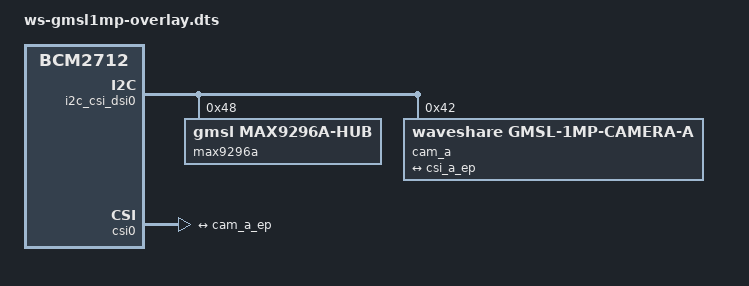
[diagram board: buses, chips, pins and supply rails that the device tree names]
// SPDX-License-Identifier: GPL-2.0
/*
 * Raspberry Pi 5: Waveshare MAX9296A GMSL HAT + up to two
 * GMSL-1MP-Camera-A, one camera per Pi CSI connector.
 *
 * The MAX9296A is driven by gmsl_max9296a (repo gmsl-max9296a); the cameras
 * are its clients (gmsl1mp). For other camera types on the same HAT use the
 * ws-max9296a-hat overlay from gmsl-max9296a instead of this one.
 *
 * Defaults (no parameters) = one camera:
 *   camera on HAT GMSL0 (link A) -> MAX9296A port B (HAT "CSI1")
 *     -> Pi CAM/DISP0 (J3), deserializer I2C on the CAM0 bus.
 *
 * Add the second camera with "link-b":
 *   camera on HAT GMSL1 (link B) -> MAX9296A port A (HAT "CSI0")
 *     -> Pi CAM/DISP1 (J4).
 *
 * Parameters:
 *   link-b          add the link-B camera
 *   no-link-a       drop the link-A camera (link-B only setups)
 *   a-port / b-port MAX9296A MIPI port per camera: 0 = A (HAT CSI0),
 *                   1 = B (HAT CSI1). Defaults a-port=1, b-port=0.
 *   a-cam1          link-A camera to Pi CAM1 (J4) instead of CAM0
 *   b-cam0          link-B camera to Pi CAM0 (J3) instead of CAM1
 *   i2c-cam1        deserializer I2C reached via the CAM1 connector's bus
 *   dser-addr       MAX9296A 7-bit address (default 0x48)
 *   a-vc / b-vc     CSI-2 virtual channel (default 0)
 *   link-frequency  CSI-2 link frequency in Hz for both ports (default
 *                   300000000 = 600 Mbps/lane, the rate Waveshare programs)
 *
 * Example (dual camera, the default routing):
 *   dtoverlay=ws-gmsl1mp,link-b
 */
/dts-v1/;
/plugin/;

/ {
	compatible = "brcm,bcm2712";

	/* the deserializer: both links GMSL1 (1MP), both MIPI ports 4 lanes */
	des_frag: fragment@0 {
		target = <&i2c_csi_dsi0>;
		__overlay__ {
			#address-cells = <1>;
			#size-cells = <0>;
			status = "okay";

			max9296a: max9296a@48 {
				compatible = "gmsl,max9296a-hub";
				reg = <0x48>;
				status = "okay";
				gmsl,poc-mfp = <4>;	/* HAT 12 V PoC on deserializer MFP4 */

				mipi-ports {
					#address-cells = <1>;
					#size-cells = <0>;

					mipi_port_a: mipi-port@0 {
						reg = <0>;
						data-lanes = <1 2 3 4>;
						link-frequency = /bits/ 64 <300000000>;
					};
					mipi_port_b: mipi-port@1 {
						reg = <1>;
						data-lanes = <1 2 3 4>;
						link-frequency = /bits/ 64 <300000000>;
					};
				};

				links {
					#address-cells = <1>;
					#size-cells = <0>;

					link_a: link@0 {
						reg = <0>;
						gmsl,mode = "gmsl1";
						gmsl,data-type = <0x1e>;
						gmsl,mipi-port = <1>;
						gmsl,vc = <0>;
					};
					link_b: link@1 {
						reg = <1>;
						gmsl,mode = "gmsl1";
						gmsl,data-type = <0x1e>;
						gmsl,mipi-port = <0>;
						gmsl,vc = <0>;
					};
				};
			};
		};
	};

	/* link-A camera */
	cam_a_frag: fragment@1 {
		target = <&i2c_csi_dsi0>;
		__overlay__ {
			#address-cells = <1>;
			#size-cells = <0>;
			status = "okay";

			cam_a: gmsl1mp@42 {
				compatible = "waveshare,gmsl-1mp-camera-a";
				reg = <0x42>;
				status = "okay";
				gmsl,deserializer = <&max9296a>;
				gmsl,link = <0>;

				port {
					cam_a_ep: endpoint {
						clock-lanes = <0>;
						data-lanes = <1 2 3 4>;
						link-frequencies =
							/bits/ 64 <300000000>;
						remote-endpoint = <&csi_a_ep>;
					};
				};
			};
		};
	};

	/* link-B camera (dormant until "link-b") */
	cam_b_frag: fragment@2 {
		target = <&i2c_csi_dsi0>;
		__dormant__ {
			#address-cells = <1>;
			#size-cells = <0>;
			status = "okay";

			cam_b: gmsl1mp@44 {
				compatible = "waveshare,gmsl-1mp-camera-a";
				reg = <0x44>;
				status = "okay";
				gmsl,deserializer = <&max9296a>;
				gmsl,link = <1>;

				port {
					cam_b_ep: endpoint {
						clock-lanes = <0>;
						data-lanes = <1 2 3 4>;
						link-frequencies =
							/bits/ 64 <300000000>;
						remote-endpoint = <&csi_b_ep>;
					};
				};
			};
		};
	};

	csi_a_frag: fragment@3 {
		target = <&csi0>;
		__overlay__ {
			status = "okay";
			brcm,media-controller;

			port {
				csi_a_ep: endpoint {
					remote-endpoint = <&cam_a_ep>;
					clock-lanes = <0>;
					data-lanes = <1 2 3 4>;
					clock-noncontinuous;
				};
			};
		};
	};

	csi_b_frag: fragment@4 {
		target = <&csi1>;
		__dormant__ {
			status = "okay";
			brcm,media-controller;

			port {
				csi_b_ep: endpoint {
					remote-endpoint = <&cam_b_ep>;
					clock-lanes = <0>;
					data-lanes = <1 2 3 4>;
					clock-noncontinuous;
				};
			};
		};
	};

	__overrides__ {
		link-b = <0>, "+2+4";
		no-link-a = <0>, "-1-3";
		a-port = <&link_a>, "gmsl,mipi-port:0";
		b-port = <&link_b>, "gmsl,mipi-port:0";
		a-vc = <&link_a>, "gmsl,vc:0";
		b-vc = <&link_b>, "gmsl,vc:0";
		dser-addr = <&max9296a>, "reg:0";
		a-cam1 = <&csi_a_frag>, "target:0=", <&csi1>;
		b-cam0 = <&csi_b_frag>, "target:0=", <&csi0>;
		i2c-cam1 = <&des_frag>, "target:0=", <&i2c_csi_dsi>,
			   <&cam_a_frag>, "target:0=", <&i2c_csi_dsi>,
			   <&cam_b_frag>, "target:0=", <&i2c_csi_dsi>;
		link-frequency = <&cam_a_ep>, "link-frequencies#0",
				 <&cam_b_ep>, "link-frequencies#0",
				 <&mipi_port_a>, "link-frequency#0",
				 <&mipi_port_b>, "link-frequency#0";
	};
};
